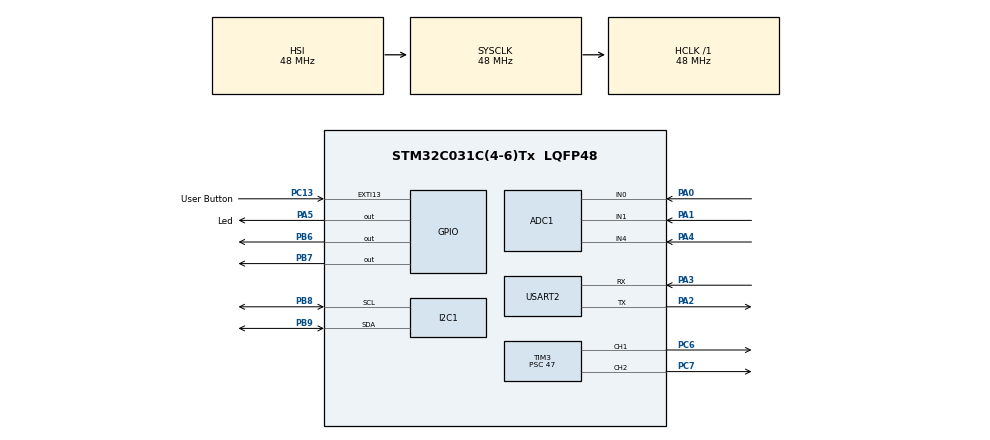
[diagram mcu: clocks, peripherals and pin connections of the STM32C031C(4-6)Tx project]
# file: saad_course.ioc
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ADC1.Channel-0\#ChannelRegularConversion=ADC_CHANNEL_0
ADC1.Channel-1\#ChannelRegularConversion=ADC_CHANNEL_1
ADC1.Channel-2\#ChannelRegularConversion=ADC_CHANNEL_4
ADC1.ContinuousConvMode=ENABLE
ADC1.DMAContinuousRequests=ENABLE
ADC1.NbrOfConversion=3
ADC1.NbrOfConversionFlag=1
ADC1.Rank-0\#ChannelRegularConversion=1
ADC1.Rank-1\#ChannelRegularConversion=2
ADC1.Rank-2\#ChannelRegularConversion=3
ADC1.SamplingTime-0\#ChannelRegularConversion=ADC_SAMPLINGTIME_COMMON_1
ADC1.SamplingTime-1\#ChannelRegularConversion=ADC_SAMPLINGTIME_COMMON_1
ADC1.SamplingTime-2\#ChannelRegularConversion=ADC_SAMPLINGTIME_COMMON_1
ADC1.SamplingTimeCommon1=ADC_SAMPLETIME_160CYCLES_5
ADC1.SelectedChannel=ADC_CHANNEL_0|ADC_CHANNEL_1|ADC_CHANNEL_4
ADC1.master=1
Dma.ADC1.0.Direction=DMA_PERIPH_TO_MEMORY
Dma.ADC1.0.EventEnable=DISABLE
Dma.ADC1.0.Instance=DMA1_Channel1
Dma.ADC1.0.MemDataAlignment=DMA_MDATAALIGN_HALFWORD
Dma.ADC1.0.MemInc=DMA_MINC_ENABLE
Dma.ADC1.0.Mode=DMA_CIRCULAR
Dma.ADC1.0.PeriphDataAlignment=DMA_PDATAALIGN_HALFWORD
Dma.ADC1.0.PeriphInc=DMA_PINC_DISABLE
Dma.ADC1.0.Polarity=HAL_DMAMUX_REQ_GEN_RISING
Dma.ADC1.0.Priority=DMA_PRIORITY_LOW
Dma.ADC1.0.RequestNumber=1
Dma.ADC1.0.SignalID=NONE
Dma.ADC1.0.SyncEnable=DISABLE
Dma.ADC1.0.SyncPolarity=HAL_DMAMUX_SYNC_NO_EVENT
Dma.ADC1.0.SyncRequestNumber=1
Dma.ADC1.0.SyncSignalID=NONE
Dma.Request0=ADC1
I2C1.Timing=0x20303E5D
Mcu.Family=STM32C0
Mcu.Name=STM32C031C(4-6)Tx
Mcu.Package=LQFP48
NVIC.ADC1_IRQn=true\:0\:0\:false\:false\:true\:true\:true\:true
NVIC.DMA1_Channel1_IRQn=true\:0\:0\:false\:false\:true\:false\:true\:true
NVIC.EXTI4_15_IRQn=true\:0\:0\:false\:false\:true\:true\:true\:true
NVIC.TIM16_IRQn=true\:0\:0\:false\:false\:true\:true\:true\:true
NVIC.TIM3_IRQn=true\:0\:0\:false\:false\:true\:true\:true\:true
PA0.Mode=IN0
PA0.Signal=ADC1_IN0
PA1.Mode=IN1
PA1.Signal=ADC1_IN1
PA13.Mode=Serial_Wire
PA13.Signal=DEBUG_SWDIO
PA14-BOOT0.Mode=Serial_Wire
PA14-BOOT0.Signal=DEBUG_SWCLK
PA2.Mode=Asynchronous
PA2.Signal=USART2_TX
PA3.Mode=Asynchronous
PA3.Signal=USART2_RX
PA4.Mode=IN4
PA4.Signal=ADC1_IN4
PA5.GPIO_Label=Led
PA5.GPIO_Speed=GPIO_SPEED_FREQ_VERY_HIGH
PA5.PinState=GPIO_PIN_SET
PA5.Signal=GPIO_Output
PB6.Signal=GPIO_Output
PB7.Signal=GPIO_Output
PB8.Mode=I2C
PB8.Signal=I2C1_SCL
PB9.Mode=I2C
PB9.Signal=I2C1_SDA
PC13.GPIO_Label=User Button
PC13.Signal=GPXTI13
PC14-OSCX_IN\ (PC14).Mode=LSE-External-Oscillator
PC14-OSCX_IN\ (PC14).Signal=RCC_OSCX_IN
PC15-OSCX_OUT\ (PC15).Mode=LSE-External-Oscillator
PC15-OSCX_OUT\ (PC15).Signal=RCC_OSCX_OUT
PC6.Signal=S_TIM3_CH1
PC7.Signal=S_TIM3_CH2
PF0-OSC_IN\ (PF0).Mode=HSE-External-Oscillator
PF0-OSC_IN\ (PF0).Signal=RCC_OSC_IN
PF1-OSC_OUT\ (PF1).Mode=HSE-External-Oscillator
PF1-OSC_OUT\ (PF1).Signal=RCC_OSC_OUT
ProjectManager.HeapSize=0x200
ProjectManager.StackSize=0x400
ProjectManager.TargetToolchain=STM32CubeIDE
RCC.ADCFreq_Value=48000000
RCC.AHBFreq_Value=48000000
RCC.CortexFreq_Value=48000000
RCC.EXTERNAL_CLOCK_VALUE=12288000
RCC.HCLKFreq_Value=48000000
RCC.HSE_VALUE=48000000
RCC.HSISYSCLKDivider=RCC_HSI_DIV1
RCC.HSI_VALUE=48000000
RCC.SYSCLKFreq_VALUE=48000000
SH.S_TIM3_CH1.0=TIM3_CH1,PWM Generation1 CH1
SH.S_TIM3_CH2.0=TIM3_CH2,PWM Generation2 CH2
TIM1.Prescaler=47999
TIM16.Period=60000
TIM16.Prescaler=4799
TIM3.Channel-PWM\ Generation1\ CH1=TIM_CHANNEL_1
TIM3.Channel-PWM\ Generation2\ CH2=TIM_CHANNEL_2
TIM3.Period=10000
TIM3.Prescaler=47
TIM3.Pulse-PWM\ Generation1\ CH1=2500
TIM3.Pulse-PWM\ Generation2\ CH2=7500
USART2.VirtualMode-Asynchronous=VM_ASYNC
VP_TIM16_VS_ClockSourceINT.Mode=Enable_Timer
VP_TIM1_VS_ClockSourceINT.Mode=Internal
VP_TIM3_VS_ClockSourceINT.Mode=Internal
board=NUCLEO-C031C6

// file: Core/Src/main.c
/* USER CODE BEGIN Header */
/**
  ******************************************************************************
  * @file           : main.c
  * @brief          : Main program body
  ******************************************************************************
  * @attention
  *
  * Copyright (c) 2024 STMicroelectronics.
  * All rights reserved.
  *
  * This software is licensed under terms that can be found in the LICENSE file
  * in the root directory of this software component.
  * If no LICENSE file comes with this software, it is provided AS-IS.
  *
  ******************************************************************************
  */
/* USER CODE END Header */
#include "main.h"

/* USER CODE BEGIN PM */
#define DIR_PORT GPIOB
#define STEP_PORT GPIOB
#define DIR_PIN GPIO_PIN_6
#define STEP_PIN GPIO_PIN_7

/* USER CODE END PM */

ADC_HandleTypeDef hadc1;
DMA_HandleTypeDef hdma_adc1;

I2C_HandleTypeDef hi2c1;

TIM_HandleTypeDef htim1;
TIM_HandleTypeDef htim3;
TIM_HandleTypeDef htim16;

UART_HandleTypeDef huart2;

/* USER CODE BEGIN PV */
int cnt = 0;
uint16_t adc_val[3];
uint16_t* tim16_dma;
int adc_get = 0;
int sec = 0;
int tim16_cnt;
float ratio;
int duty1 = 2500, duty2 = 7500, duty1_last = 2500, duty2_last = 7500;
uint8_t step_interval = 1, dir_state = 0;
int step;
/* USER CODE END PV */

void SystemClock_Config(void);
static void MX_GPIO_Init(void);
static void MX_DMA_Init(void);
static void MX_ADC1_Init(void);
static void MX_I2C1_Init(void);
static void MX_USART2_UART_Init(void);
static void MX_TIM3_Init(void);
static void MX_TIM16_Init(void);
static void MX_TIM1_Init(void);

int main(void)
{

  /* MCU Configuration--------------------------------------------------------*/

  /* Reset of all peripherals, Initializes the Flash interface and the Systick. */
  HAL_Init();

  /* USER CODE BEGIN Init */
  HAL_GPIO_WritePin(DIR_PORT, DIR_PIN, dir_state);
  /* USER CODE END Init */

  /* Configure the system clock */
  SystemClock_Config();

  /* Initialize all configured peripherals */
  MX_GPIO_Init();
  MX_DMA_Init();
  MX_ADC1_Init();
  MX_I2C1_Init();
  MX_USART2_UART_Init();
  MX_TIM3_Init();
  MX_TIM16_Init();
  MX_TIM1_Init();
  /* USER CODE BEGIN 2 */
  //HAL_ADC_Start_IT(&hadc1);
  HAL_ADC_Start_DMA(&hadc1, (uint32_t*)adc_val, 3);
  HAL_TIM_Base_Start_IT(&htim3);
  HAL_TIM_PWM_Start(&htim3, TIM_CHANNEL_1);
  HAL_TIM_PWM_Start(&htim3, TIM_CHANNEL_2);
  HAL_TIM_Base_Start_IT(&htim16);
  HAL_TIM_Base_Start_DMA(&htim16, (uint32_t*)tim16_dma, 1);

  /* USER CODE END 2 */

  /* Infinite loop */
  /* USER CODE BEGIN WHILE */
  while (1)
  {
	  if(duty1 != duty1_last && duty1 <10000)
	  {
		  __HAL_TIM_SET_COMPARE(&htim3, TIM_CHANNEL_1, duty1);
		  duty1_last = duty1;
	  }
	  if(duty2 != duty2_last && duty2 <10000)
	  {
		  __HAL_TIM_SET_COMPARE(&htim3, TIM_CHANNEL_2, duty2);
		  duty2_last = duty2;
	  }
	  if(step > 0)
	  {
		  HAL_GPIO_WritePin(STEP_PORT, STEP_PIN, SET);
		  HAL_Delay(step_interval);
		  HAL_GPIO_WritePin(STEP_PORT, STEP_PIN, RESET);
		  HAL_Delay(step_interval);
		  step--;
	  }
	  tim16_cnt = __HAL_TIM_GET_COUNTER(&htim16);

    /* USER CODE END WHILE */

  }
}

void SystemClock_Config(void)
{
  RCC_OscInitTypeDef RCC_OscInitStruct = {0};
  RCC_ClkInitTypeDef RCC_ClkInitStruct = {0};

  /** Initializes the RCC Oscillators according to the specified parameters
  * in the RCC_OscInitTypeDef structure.
  */
  RCC_OscInitStruct.OscillatorType = RCC_OSCILLATORTYPE_HSI;
  RCC_OscInitStruct.HSIState = RCC_HSI_ON;
  RCC_OscInitStruct.HSIDiv = RCC_HSI_DIV1;
  RCC_OscInitStruct.HSICalibrationValue = RCC_HSICALIBRATION_DEFAULT;
  if (HAL_RCC_OscConfig(&RCC_OscInitStruct) != HAL_OK)
  {
    Error_Handler();
  }

  /** Initializes the CPU, AHB and APB buses clocks
  */
  RCC_ClkInitStruct.ClockType = RCC_CLOCKTYPE_HCLK|RCC_CLOCKTYPE_SYSCLK
                              |RCC_CLOCKTYPE_PCLK1;
  RCC_ClkInitStruct.SYSCLKSource = RCC_SYSCLKSOURCE_HSI;
  RCC_ClkInitStruct.SYSCLKDivider = RCC_SYSCLK_DIV1;
  RCC_ClkInitStruct.AHBCLKDivider = RCC_HCLK_DIV1;
  RCC_ClkInitStruct.APB1CLKDivider = RCC_APB1_DIV1;

  if (HAL_RCC_ClockConfig(&RCC_ClkInitStruct, FLASH_LATENCY_1) != HAL_OK)
  {
    Error_Handler();
  }
}

static void MX_ADC1_Init(void)
{

  ADC_ChannelConfTypeDef sConfig = {0};

  /** Configure the global features of the ADC (Clock, Resolution, Data Alignment and number of conversion)
  */
  hadc1.Instance = ADC1;
  hadc1.Init.ClockPrescaler = ADC_CLOCK_SYNC_PCLK_DIV2;
  hadc1.Init.Resolution = ADC_RESOLUTION_12B;
  hadc1.Init.DataAlign = ADC_DATAALIGN_RIGHT;
  hadc1.Init.ScanConvMode = ADC_SCAN_ENABLE;
  hadc1.Init.EOCSelection = ADC_EOC_SINGLE_CONV;
  hadc1.Init.LowPowerAutoWait = DISABLE;
  hadc1.Init.LowPowerAutoPowerOff = DISABLE;
  hadc1.Init.ContinuousConvMode = ENABLE;
  hadc1.Init.NbrOfConversion = 3;
  hadc1.Init.ExternalTrigConv = ADC_SOFTWARE_START;
  hadc1.Init.ExternalTrigConvEdge = ADC_EXTERNALTRIGCONVEDGE_NONE;
  hadc1.Init.DMAContinuousRequests = ENABLE;
  hadc1.Init.Overrun = ADC_OVR_DATA_PRESERVED;
  hadc1.Init.SamplingTimeCommon1 = ADC_SAMPLETIME_160CYCLES_5;
  hadc1.Init.SamplingTimeCommon2 = ADC_SAMPLETIME_1CYCLE_5;
  hadc1.Init.OversamplingMode = DISABLE;
  hadc1.Init.TriggerFrequencyMode = ADC_TRIGGER_FREQ_HIGH;
  if (HAL_ADC_Init(&hadc1) != HAL_OK)
  {
    Error_Handler();
  }

  /** Configure Regular Channel
  */
  sConfig.Channel = ADC_CHANNEL_0;
  sConfig.Rank = ADC_REGULAR_RANK_1;
  sConfig.SamplingTime = ADC_SAMPLINGTIME_COMMON_1;
  if (HAL_ADC_ConfigChannel(&hadc1, &sConfig) != HAL_OK)
  {
    Error_Handler();
  }

  /** Configure Regular Channel
  */
  sConfig.Channel = ADC_CHANNEL_1;
  sConfig.Rank = ADC_REGULAR_RANK_2;
  if (HAL_ADC_ConfigChannel(&hadc1, &sConfig) != HAL_OK)
  {
    Error_Handler();
  }

  /** Configure Regular Channel
  */
  sConfig.Channel = ADC_CHANNEL_4;
  sConfig.Rank = ADC_REGULAR_RANK_3;
  if (HAL_ADC_ConfigChannel(&hadc1, &sConfig) != HAL_OK)
  {
    Error_Handler();
  }

}

static void MX_I2C1_Init(void)
{

  hi2c1.Instance = I2C1;
  hi2c1.Init.Timing = 0x20303E5D;
  hi2c1.Init.OwnAddress1 = 0;
  hi2c1.Init.AddressingMode = I2C_ADDRESSINGMODE_7BIT;
  hi2c1.Init.DualAddressMode = I2C_DUALADDRESS_DISABLE;
  hi2c1.Init.OwnAddress2 = 0;
  hi2c1.Init.OwnAddress2Masks = I2C_OA2_NOMASK;
  hi2c1.Init.GeneralCallMode = I2C_GENERALCALL_DISABLE;
  hi2c1.Init.NoStretchMode = I2C_NOSTRETCH_DISABLE;
  if (HAL_I2C_Init(&hi2c1) != HAL_OK)
  {
    Error_Handler();
  }

  /** Configure Analogue filter
  */
  if (HAL_I2CEx_ConfigAnalogFilter(&hi2c1, I2C_ANALOGFILTER_ENABLE) != HAL_OK)
  {
    Error_Handler();
  }

  /** Configure Digital filter
  */
  if (HAL_I2CEx_ConfigDigitalFilter(&hi2c1, 0) != HAL_OK)
  {
    Error_Handler();
  }

}

static void MX_TIM1_Init(void)
{

  TIM_ClockConfigTypeDef sClockSourceConfig = {0};
  TIM_MasterConfigTypeDef sMasterConfig = {0};

  htim1.Instance = TIM1;
  htim1.Init.Prescaler = 47999;
  htim1.Init.CounterMode = TIM_COUNTERMODE_UP;
  htim1.Init.Period = 65535;
  htim1.Init.ClockDivision = TIM_CLOCKDIVISION_DIV1;
  htim1.Init.RepetitionCounter = 0;
  htim1.Init.AutoReloadPreload = TIM_AUTORELOAD_PRELOAD_DISABLE;
  if (HAL_TIM_Base_Init(&htim1) != HAL_OK)
  {
    Error_Handler();
  }
  sClockSourceConfig.ClockSource = TIM_CLOCKSOURCE_INTERNAL;
  if (HAL_TIM_ConfigClockSource(&htim1, &sClockSourceConfig) != HAL_OK)
  {
    Error_Handler();
  }
  sMasterConfig.MasterOutputTrigger = TIM_TRGO_RESET;
  sMasterConfig.MasterOutputTrigger2 = TIM_TRGO2_RESET;
  sMasterConfig.MasterSlaveMode = TIM_MASTERSLAVEMODE_DISABLE;
  if (HAL_TIMEx_MasterConfigSynchronization(&htim1, &sMasterConfig) != HAL_OK)
  {
    Error_Handler();
  }

}

static void MX_TIM3_Init(void)
{

  TIM_ClockConfigTypeDef sClockSourceConfig = {0};
  TIM_MasterConfigTypeDef sMasterConfig = {0};
  TIM_OC_InitTypeDef sConfigOC = {0};

  htim3.Instance = TIM3;
  htim3.Init.Prescaler = 47;
  htim3.Init.CounterMode = TIM_COUNTERMODE_UP;
  htim3.Init.Period = 10000;
  htim3.Init.ClockDivision = TIM_CLOCKDIVISION_DIV1;
  htim3.Init.AutoReloadPreload = TIM_AUTORELOAD_PRELOAD_DISABLE;
  if (HAL_TIM_Base_Init(&htim3) != HAL_OK)
  {
    Error_Handler();
  }
  sClockSourceConfig.ClockSource = TIM_CLOCKSOURCE_INTERNAL;
  if (HAL_TIM_ConfigClockSource(&htim3, &sClockSourceConfig) != HAL_OK)
  {
    Error_Handler();
  }
  if (HAL_TIM_PWM_Init(&htim3) != HAL_OK)
  {
    Error_Handler();
  }
  sMasterConfig.MasterOutputTrigger = TIM_TRGO_RESET;
  sMasterConfig.MasterSlaveMode = TIM_MASTERSLAVEMODE_DISABLE;
  if (HAL_TIMEx_MasterConfigSynchronization(&htim3, &sMasterConfig) != HAL_OK)
  {
    Error_Handler();
  }
  sConfigOC.OCMode = TIM_OCMODE_PWM1;
  sConfigOC.Pulse = 2500;
  sConfigOC.OCPolarity = TIM_OCPOLARITY_HIGH;
  sConfigOC.OCFastMode = TIM_OCFAST_DISABLE;
  if (HAL_TIM_PWM_ConfigChannel(&htim3, &sConfigOC, TIM_CHANNEL_1) != HAL_OK)
  {
    Error_Handler();
  }
  sConfigOC.Pulse = 7500;
  if (HAL_TIM_PWM_ConfigChannel(&htim3, &sConfigOC, TIM_CHANNEL_2) != HAL_OK)
  {
    Error_Handler();
  }
  HAL_TIM_MspPostInit(&htim3);

}

static void MX_TIM16_Init(void)
{

  htim16.Instance = TIM16;
  htim16.Init.Prescaler = 4799;
  htim16.Init.CounterMode = TIM_COUNTERMODE_UP;
  htim16.Init.Period = 60000;
  htim16.Init.ClockDivision = TIM_CLOCKDIVISION_DIV1;
  htim16.Init.RepetitionCounter = 0;
  htim16.Init.AutoReloadPreload = TIM_AUTORELOAD_PRELOAD_DISABLE;
  if (HAL_TIM_Base_Init(&htim16) != HAL_OK)
  {
    Error_Handler();
  }

}

static void MX_USART2_UART_Init(void)
{

  huart2.Instance = USART2;
  huart2.Init.BaudRate = 115200;
  huart2.Init.WordLength = UART_WORDLENGTH_8B;
  huart2.Init.StopBits = UART_STOPBITS_1;
  huart2.Init.Parity = UART_PARITY_NONE;
  huart2.Init.Mode = UART_MODE_TX_RX;
  huart2.Init.HwFlowCtl = UART_HWCONTROL_NONE;
  huart2.Init.OverSampling = UART_OVERSAMPLING_16;
  huart2.Init.OneBitSampling = UART_ONE_BIT_SAMPLE_DISABLE;
  huart2.Init.ClockPrescaler = UART_PRESCALER_DIV1;
  huart2.AdvancedInit.AdvFeatureInit = UART_ADVFEATURE_NO_INIT;
  if (HAL_UART_Init(&huart2) != HAL_OK)
  {
    Error_Handler();
  }

}

static void MX_DMA_Init(void)
{

  /* DMA controller clock enable */
  __HAL_RCC_DMA1_CLK_ENABLE();

  /* DMA interrupt init */
  /* DMA1_Channel1_IRQn interrupt configuration */
  HAL_NVIC_SetPriority(DMA1_Channel1_IRQn, 0, 0);
  HAL_NVIC_EnableIRQ(DMA1_Channel1_IRQn);

}

static void MX_GPIO_Init(void)
{
  GPIO_InitTypeDef GPIO_InitStruct = {0};

  /* GPIO Ports Clock Enable */
  __HAL_RCC_GPIOC_CLK_ENABLE();
  __HAL_RCC_GPIOF_CLK_ENABLE();
  __HAL_RCC_GPIOA_CLK_ENABLE();
  __HAL_RCC_GPIOB_CLK_ENABLE();

  /*Configure GPIO pin Output Level */
  HAL_GPIO_WritePin(Led_GPIO_Port, Led_Pin, GPIO_PIN_SET);

  /*Configure GPIO pin Output Level */
  HAL_GPIO_WritePin(GPIOB, GPIO_PIN_6|GPIO_PIN_7, GPIO_PIN_RESET);

  /*Configure GPIO pin : User_Button_Pin */
  GPIO_InitStruct.Pin = User_Button_Pin;
  GPIO_InitStruct.Mode = GPIO_MODE_IT_RISING;
  GPIO_InitStruct.Pull = GPIO_NOPULL;
  HAL_GPIO_Init(User_Button_GPIO_Port, &GPIO_InitStruct);

  /*Configure GPIO pin : Led_Pin */
  GPIO_InitStruct.Pin = Led_Pin;
  GPIO_InitStruct.Mode = GPIO_MODE_OUTPUT_PP;
  GPIO_InitStruct.Pull = GPIO_NOPULL;
  GPIO_InitStruct.Speed = GPIO_SPEED_FREQ_VERY_HIGH;
  HAL_GPIO_Init(Led_GPIO_Port, &GPIO_InitStruct);

  /*Configure GPIO pins : PB6 PB7 */
  GPIO_InitStruct.Pin = GPIO_PIN_6|GPIO_PIN_7;
  GPIO_InitStruct.Mode = GPIO_MODE_OUTPUT_PP;
  GPIO_InitStruct.Pull = GPIO_NOPULL;
  GPIO_InitStruct.Speed = GPIO_SPEED_FREQ_LOW;
  HAL_GPIO_Init(GPIOB, &GPIO_InitStruct);

  /* EXTI interrupt init*/
  HAL_NVIC_SetPriority(EXTI4_15_IRQn, 0, 0);
  HAL_NVIC_EnableIRQ(EXTI4_15_IRQn);

}

/* USER CODE BEGIN 4 */
void HAL_TIM_PeriodElapsedCallback(TIM_HandleTypeDef *htim)
{
	if(htim->Instance == TIM3)
	{
		cnt ++;
		HAL_GPIO_TogglePin(GPIOA, GPIO_PIN_5);
	}
	//ratio = cnt/sec;
}

/*void HAL_ADC_ConvCpltCallback(ADC_HandleTypeDef *hadc)
{
	if(hadc->Instance == &hadc1)
	{
		HAL_ADC_Start_DMA(hadc, x, 1);
	}
}*/
/* USER CODE END 4 */

void Error_Handler(void)
{
  __disable_irq();
  while (1)
  {
  }
}
